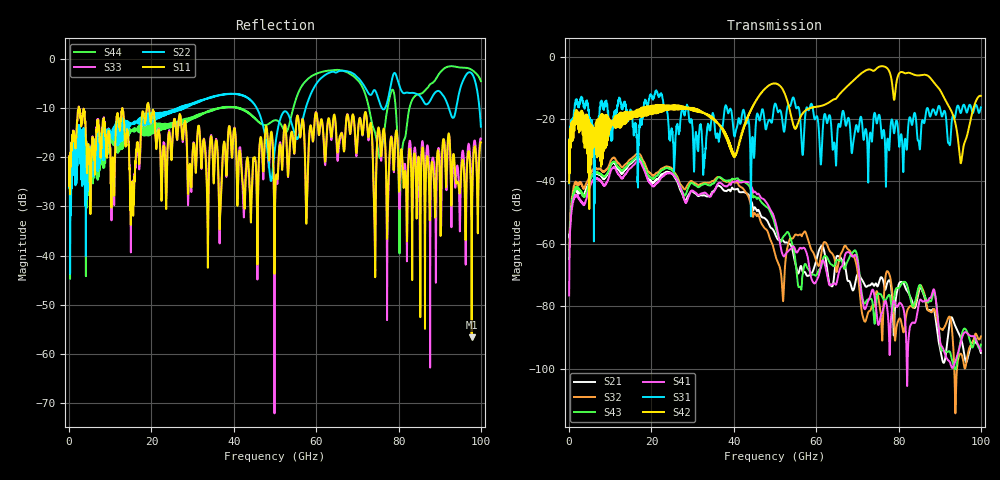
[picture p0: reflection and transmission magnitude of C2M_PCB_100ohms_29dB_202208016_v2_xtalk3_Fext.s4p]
! Info: Touchstone file created by Circ.  Input file=Intel_C2M_200G_13p0in_202208016_staggered.circ
# Hz S RI R 50
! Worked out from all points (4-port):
!   10000 points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, 10 MHz to 100 GHz, reference 50 ohm
!   strongest paths, dB at 10 MHz, 25.01 GHz, 50.01 GHz, 75.01 GHz, 100 GHz:
!     S42: -40.5, -16.1, -8.6, -3.4, -12.6
!     S31: -40.6, -24.5, -15.1, -19.7, -16.2
!     S41: -76.6, -37.5, -52.5, -85.8, -94.3
!     S43: -64.9, -36.3, -54.0, -75.9, -92.3
!     S32: -61.9, -35.9, -63.3, -76.5, -89.7
!     S21: -57.1, -37.5, -56.8, -73.4, -95.0
!   lowest |S11| = -56.6 dB at 97.76 GHz (marker M1), VSWR 1.00, Z = 50.1 - j0.0534 ohm
!   |S11| at or under -10 dB: 2.403 GHz to 12.91 GHz (10.51 GHz wide, 137 % of centre); 12.94 GHz to 18.9 GHz (5.963 GHz wide, 37.5 % of centre); 19.46 GHz to end of sweep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
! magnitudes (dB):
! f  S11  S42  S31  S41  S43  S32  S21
! 10 MHz  -25.8  -40.5  -40.6  -76.6  -64.9  -61.9  -57.1
! 16.8 GHz  -18.7  -18.5  -30.7  -33.4  -32.0  -31.1  -32.4
! 51.83 GHz  -21.5  -10.4  -20.9  -63.4  -58.2  -76.0  -58.8
! 66.17 GHz  -15.1  -11.3  -19.3  -67.3  -65.5  -62.8  -65.0
! 80.36 GHz  -21.9  -5.1  -27.1  -78.9  -73.7  -84.0  -72.3
! 97.76 GHz  -56.6  -18.7  -17.0  -89.7  -93.0  -92.1  -92.0
! 100 GHz  -16.9  -12.6  -16.2  -94.3  -92.3  -89.7  -95.0
